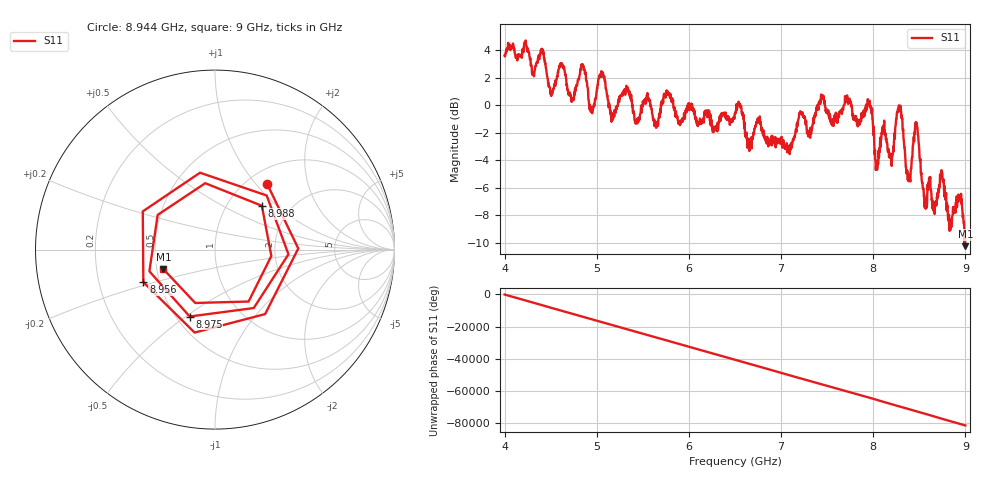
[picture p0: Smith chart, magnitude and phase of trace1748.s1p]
! Created with skrf 1.8.0 (http://scikit-rf.org).
# Hz S RI R 50.0
!freq ReS11 ImS11
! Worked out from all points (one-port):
!   1601 points, 4 GHz to 9 GHz, reference 50 ohm
!   lowest |S11| = -10.3 dB at 9 GHz (marker M1), VSWR 1.89, Z = 27.1 - j6.56 ohm
!   |S11| at or under -10 dB: 8.990976 GHz to 8.991034 GHz (57.87 kHz wide, 0.000644 % of centre); 8.997266 GHz to end of sweep
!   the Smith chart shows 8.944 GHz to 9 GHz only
!   S11 on the Smith chart (normalised r, x): 8.944 GHz: 1.22, +1.15; 8.956 GHz: 0.41, -0.18; 8.975 GHz: 0.58, -0.52; 8.988 GHz: 1.44, +0.81; 9 GHz: 0.54, -0.13
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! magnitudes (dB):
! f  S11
! 4 GHz  3.6
! 4.406 GHz  4.1
! 4.509 GHz  0.8
! 4.625 GHz  2.8
! 4.728 GHz  0.2
! 4.844 GHz  2.9
! 4.941 GHz  -0.5
! 5.047 GHz  2.1
! 5.166 GHz  -0.6
! 5.25 GHz  0.5
! 5.875 GHz  -0.8
! 6.5 GHz  -0.6
! 7.125 GHz  -2.6
! 7.434 GHz  0.8
! 7.75 GHz  0.2
! 7.962 GHz  0.3
! 8.041 GHz  -4.7
! 8.109 GHz  -2.1
! 8.197 GHz  -3.9
! 8.288 GHz  -0.3
! 8.375 GHz  -5.4
! 8.466 GHz  -1.7
! 8.559 GHz  -7.4
! 8.944 GHz  -6.6
! 8.956 GHz  -7.2
! 8.975 GHz  -8.0
! 8.988 GHz  -8.9
! 9 GHz  -10.3
